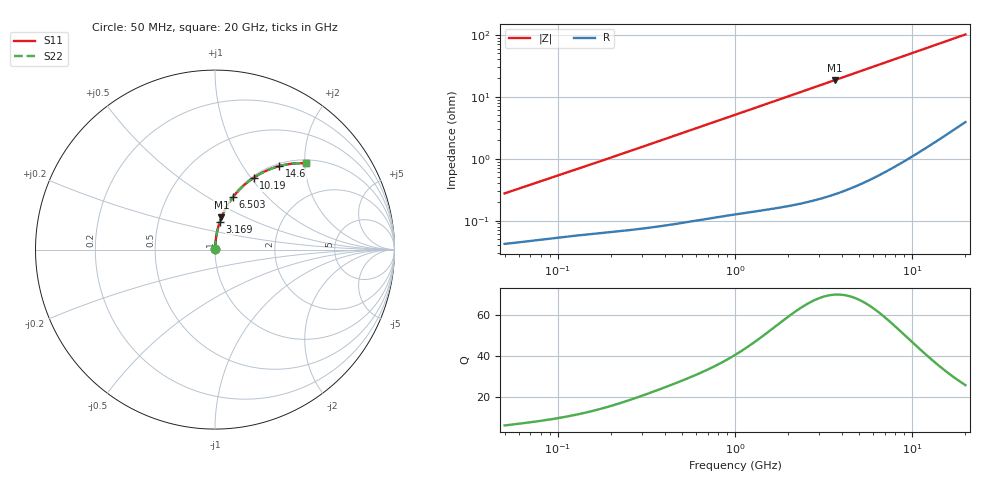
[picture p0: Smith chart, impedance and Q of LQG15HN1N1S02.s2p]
!Murata Part Number: LQG15HN1N1S02
!These Parameters are Measured in Series Mode Connection
!  o--[Z]--o
!Port1  Port2
!  o-------o
!Freq. Start=50[MHz] Stop=20[GHz], 401[Steps]
# Hz S RI R 50
!Freq.(Hz) S11(Real) S11(Imag) S21(Real) S21(Imag) S12(Real) S12(Imag) S22(Real) S22(Imag)
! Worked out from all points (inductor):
!   401 points, 50 MHz to 20 GHz, reference 50 ohm
!   read as one part in series: L = 859 pH near 51.52 MHz
!   highest Q = 69.8 at 3.681 GHz (marker M1), where L = 806 pH
!   S11 on the Smith chart (normalised r, x): 50 MHz: 1.00, +0.01; 3.169 GHz: 1.00, +0.32; 6.503 GHz: 1.01, +0.66; 10.19 GHz: 1.02, +1.03; 14.6 GHz: 1.04, +1.48; 20 GHz: 1.08, +2.02
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5e7  0.000428 0.00272  0.9996 -0.00272  0.9996 -0.00272  0.000428 0.00272
5.152053e7  0.000432 0.0028  0.9996 -0.0028  0.9996 -0.0028  0.000432 0.0028
1.364002e8  0.000637 0.00717  0.9994 -0.00717  0.9994 -0.00717  0.000637 0.00717
3.721004e8  0.00117 0.0192  0.9988 -0.0192  0.9988 -0.0192  0.00117 0.0192
6.380365e8  0.00209 0.0326  0.9979 -0.0326  0.9979 -0.0326  0.00209 0.0326
1e9  0.00384 0.0507  0.9962 -0.0507  0.9962 -0.0507  0.00384 0.0507
1.329223e9  0.00595 0.0671  0.9941 -0.0671  0.9941 -0.0671  0.00595 0.0671
1.714689e9  0.00907 0.0861  0.9909 -0.0861  0.9909 -0.0861  0.00907 0.0861
2.179053e9  0.0138 0.1088  0.9862 -0.1088  0.9862 -0.1088  0.0138 0.1088
2.728004e9  0.0207 0.1351  0.9793 -0.1351  0.9793 -0.1351  0.0207 0.1351
3.168813e9  0.0273 0.1557  0.9727 -0.1557  0.9727 -0.1557  0.0273 0.1557
3.680849e9  0.036 0.1792  0.964 -0.1792  0.964 -0.1792  0.036 0.1792
4.966507e9  0.0625 0.2348  0.9375 -0.2348  0.9375 -0.2348  0.0625 0.2348
6.503449e9  0.1016 0.2941  0.8984 -0.2941  0.8984 -0.2941  0.1016 0.2941
7.442007e9  0.1285 0.326  0.8715 -0.326  0.8715 -0.326  0.1285 0.326
8.774992e9  0.1695 0.3656  0.8305 -0.3656  0.8305 -0.3656  0.1695 0.3656
1.019291e10  0.2152 0.4003  0.7848 -0.4003  0.7848 -0.4003  0.2152 0.4003
1.220001e10  0.2809 0.4371  0.7191 -0.4371  0.7191 -0.4371  0.2809 0.4371
1.460232e10  0.3572 0.4649  0.6428 -0.4649  0.6428 -0.4649  0.3572 0.4649
1.721783e10  0.4338 0.4791  0.5662 -0.4791  0.5662 -0.4791  0.4338 0.4791
1.940974e10  0.4915 0.4815  0.5085 -0.4815  0.5085 -0.4815  0.4915 0.4815
2e10  0.5059 0.4811  0.4941 -0.4811  0.4941 -0.4811  0.5059 0.4811
